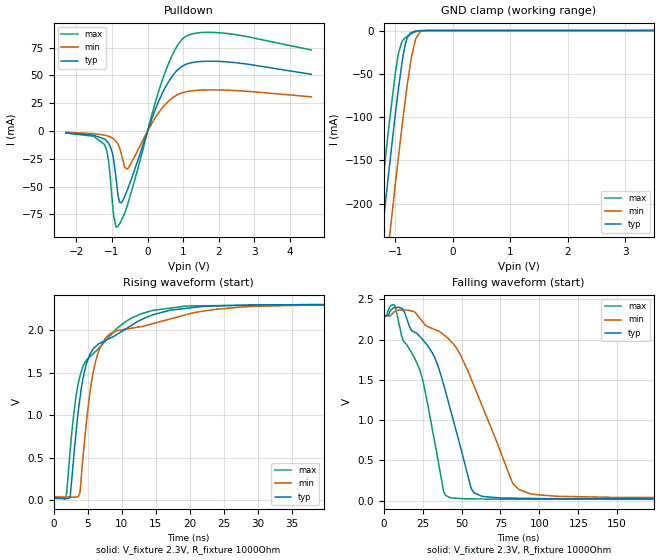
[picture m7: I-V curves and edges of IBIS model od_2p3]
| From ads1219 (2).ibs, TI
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|   od_2p3 Model
[Model]   od_2p3
Model_type   I/O_open_drain
Polarity   Non-Inverting
Enable   Active-Low
Vinl = 0.69
Vinh = 1.61
Vmeas = 1.15
Vref = 2.3
Cref = 2pF
Rref = 1000
|   typ   min   max
C_comp   1.18476E-12   1.14193E-12   1.2236E-12
[Model spec]
|subparameter
Vinl   0.69   0.6897   0.6903
Vinh   1.61   1.6093   1.6107
| Where Nom  PVT is Nominal Process, 2.3V, 27C
|   Fast PVT is Strong Process,  2.301V, -40C
|   Slow PVT is Weak Process,   2.299, 125C
[Voltage Range]   2.3   2.299   2.301
[Temperature Range]   27   125   -40
[Pullup Reference]   2.3   2.299   2.301
[Pulldown Reference]   -0   -0   -0
[Power Clamp Reference]   2.3   2.299   2.301
[GND Clamp Reference]   0   0   0
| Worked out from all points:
|   slope of the pulldown table from 0 to 0.345 V, typ, clamps not added: 11.8 ohm
|   GND clamp passes 1 mA (typ) near -0.66 V on its own axis
|   falling waveform, V_fixture 2.3V, R_fixture 1000Ohm: 20-80 % time 20.9ns typ, 29.1ns min, 17.4ns max; typ from 2.3 V to 0.023 V
|   rising waveform, V_fixture 2.3V, R_fixture 1000Ohm: 20-80 % time 3.86ns typ, 2.84ns min, 4.99ns max; typ from 0.023 V to 2.3 V
[Pulldown]
|   Voltage   I(typ)   I(min)   I(max)
-2.3V     -1.644mA   -1.178mA   -1.8mA
-1.217V   -7.185mA   -3.66mA    -12.06mA
-1.099V   -10.96mA   -4.706mA   -26.58mA
-995.9mV  -19.17mA   -6.246mA   -62.4mA
-885.5mV  -43.35mA   -9.363mA   -86.41mA
-782mV    -64.15mA   -15.91mA   -82.95mA
-568.1mV  -52.8mA    -34.21mA   -66.59mA
349.6mV   29.6mA     18.23mA    39.72mA
687.7mV   49.11mA    29.51mA    67.82mA
977.5mV   58.4mA     34.42mA    82.65mA
2.04V     62.5mA     36.91mA    88.27mA
4.6V      50.99mA    30.74mA    72.85mA
[GND Clamp]
|   Voltage   I(typ)   I(min)   I(max)
-2.3V     -925.1mA   -1.006A    -874.7mA
-1.375V   -326.9mA   -410.1mA   -274.5mA
-1.161V   -193.6mA   -276.5mA   -141.5mA
-1.12V    -168.4mA   -251.1mA   -116.8mA
-1.01V    -103.6mA   -184.6mA   -55.46mA
-940.7mV  -65.89mA   -144.3mA   -25.68mA
-885.5mV  -39.01mA   -113.1mA   -13.4mA
-816.5mV  -14.06mA   -76.21mA   -8.123mA
-713mV    -2.054mA   -29.33mA   -3.464mA
-644mV    -627.8uA   -9.555mA   -1.373mA
-492.2mV  -18.73uA   -216uA     -33.52uA
4.6V      0A         0A         0A
[POWER Clamp]
|   Voltage   I(typ)   I(min)   I(max)
-2.3V     0A         0A         0A
0V        0A         0A         0A
4.6V      0A         0A         0A
[Ramp]
R_load = 1000
|   typ   min   max
dV/dt_r   1.36595/3.85796e-09   1.3571/2.83456e-09   1.36988/4.98481e-09
dV/dt_f   1.36595/2.08603e-08   1.3571/2.91306e-08   1.36988/1.74232e-08
[Falling Waveform]
V_fixture = 2.3V
V_fixture_min = 2.299V
V_fixture_max = 2.301V
R_fixture = 1000Ohm
C_fixture = 0F
|   Time   V(typ)   V(min)   V(max)
0s        2.3V       2.299V     2.301V
6.794ns   2.397V     2.347V     2.431V
12.2ns    2.375V     2.367V     2.003V
22.82ns   2.047V     2.275V     1.642V
32.67ns   1.782V     2.127V     739.9mV
38.39ns   1.448V     2.063V     125.7mV
42.11ns   1.185V     2V         41.85mV
58.06ns   100.5mV    1.424V     22.72mV
86.74ns   31.87mV    141.5mV    18.94mV
240ns     23.42mV    37.16mV    17.87mV
[Rising Waveform]
V_fixture = 2.3V
V_fixture_min = 2.299V
V_fixture_max = 2.301V
R_fixture = 1000Ohm
C_fixture = 0F
|   Time   V(typ)   V(min)   V(max)
0s        23.42mV    37.16mV    17.87mV
1.835ns   17.22mV    34.99mV    19.35mV
2.451ns   34.5mV     34.26mV    582.1mV
3.832ns   1.165V     71.19mV    1.44V
5.323ns   1.711V     1.246V     1.684V
6.582ns   1.833V     1.74V      1.778V
7.857ns   1.886V     1.925V     1.892V
14.55ns   2.179V     2.075V     2.231V
29.63ns   2.296V     2.28V      2.293V
120ns     2.3V       2.299V     2.301V
